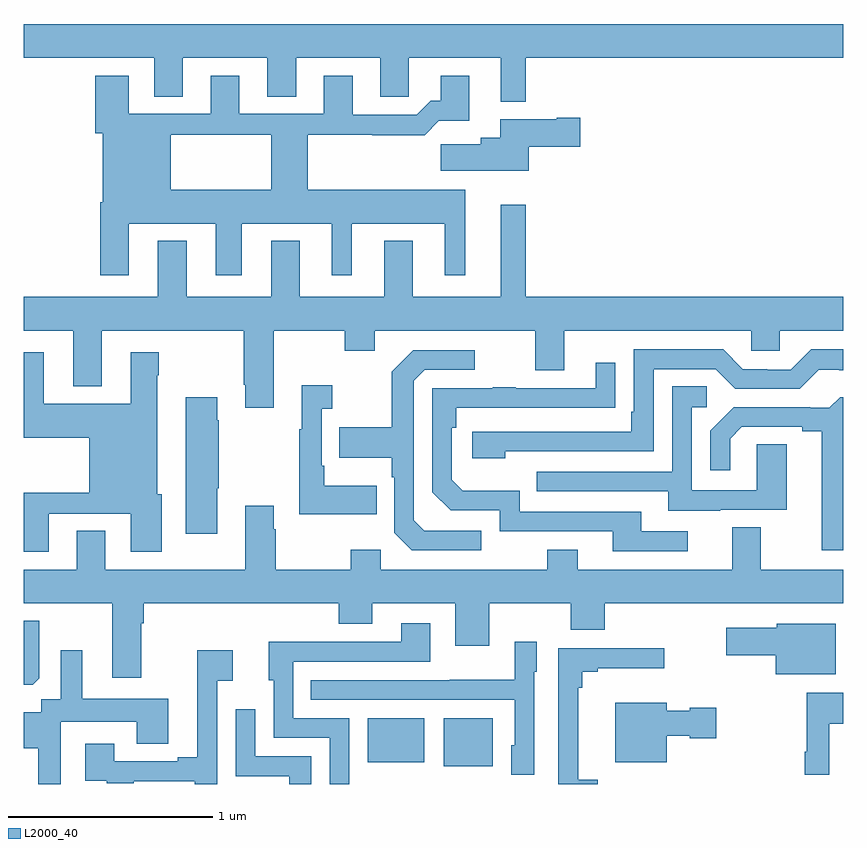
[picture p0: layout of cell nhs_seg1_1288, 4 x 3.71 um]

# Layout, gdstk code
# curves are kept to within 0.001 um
import gdstk
lib = gdstk.Library(unit=1e-6, precision=1e-09)
def R(c, l, rs):  # rectangles x0, y0, x1, y1
    for r in rs: c.add(gdstk.rectangle(r[:2], r[2:], *l))
def P(c, l, *ps):  # polygons
    for p in ps: c.add(gdstk.Polygon(p, *l))
L2000_40 = (2000, 40)

nhs_seg1_1288 = lib.new_cell('nhs_seg1_1288')
R(nhs_seg1_1288, L2000_40, [(183.05,536.285,183.289,536.521), (182.678,536.306,182.956,536.521)])
P(nhs_seg1_1288, L2000_40, [(183.451,539.744),(185,539.744),(185,539.908),(181,539.908),(181,539.744),(181.637,539.744),(181.637,539.554),(181.777,539.554),(181.777,539.744),(182.189,539.744),(182.189,539.554),(182.329,539.554),(182.329,539.744),(182.741,539.744),(182.741,539.554),(182.88,539.554),(182.88,539.744),(183.329,539.744),(183.329,539.528),(183.451,539.528)],
  [(181.373,539.038),(181.373,538.683),(181.513,538.683),(181.513,538.934),(181.937,538.934),(181.937,538.683),(182.065,538.683),(182.065,538.934),(182.504,538.934),(182.504,538.683),(182.602,538.683),(182.602,538.934),(183.056,538.934),(183.056,538.683),(183.154,538.683),(183.154,539.098),(182.387,539.098),(182.387,539.368),(182.701,539.368),(182.701,539.366),(182.957,539.366),(183.026,539.435),(183.175,539.435),(183.175,539.656),(183.035,539.656),(183.035,539.533),(182.986,539.533),(182.919,539.466),(182.605,539.466),(182.605,539.656),(182.465,539.656),(182.465,539.469),(182.053,539.469),(182.053,539.656),(181.913,539.656),(181.913,539.469),(181.513,539.469),(181.513,539.656),(181.349,539.656),(181.349,539.376),(181.385,539.376),(181.385,539.098),(181.717,539.098),(181.717,539.368),(182.209,539.368),(182.209,539.098),(181.385,539.098),(181.385,539.038)],
  [(183.466,539.309),(183.715,539.309),(183.715,539.451),(183.602,539.451),(183.602,539.443),(183.326,539.443),(183.326,539.353),(183.23,539.353),(183.23,539.321),(183.036,539.321),(183.036,539.192),(183.466,539.192)],
  [(181.795,538.849),(181.655,538.849),(181.655,538.576),(181,538.576),(181,538.412),(181.241,538.412),(181.241,538.139),(181.381,538.139),(181.381,538.412),(182.074,538.412),(182.074,538.147),(182.081,538.147),(182.081,538.035),(182.221,538.035),(182.221,538.412),(182.566,538.412),(182.566,538.313),(182.713,538.313),(182.713,538.412),(183.497,538.412),(183.497,538.218),(183.637,538.218),(183.637,538.412),(184.551,538.412),(184.551,538.314),(184.689,538.314),(184.689,538.412),(185,538.412),(185,538.576),(183.451,538.576),(183.451,539.026),(183.329,539.026),(183.329,538.576),(182.899,538.576),(182.899,538.849),(182.759,538.849),(182.759,538.576),(182.347,538.576),(182.347,538.849),(182.207,538.849),(182.207,538.576),(181.795,538.576)],
  [(183.35,537.822),(184.074,537.822),(184.074,538.224),(184.377,538.224),(184.473,538.128),(184.788,538.128),(184.881,538.221),(184.981,538.221),(184.981,538.217),(185,538.217),(185,538.321),(184.843,538.321),(184.743,538.221),(184.628,538.221),(184.628,538.224),(184.509,538.224),(184.413,538.32),(183.978,538.32),(183.978,538.015),(183.965,538.015),(183.965,537.918),(183.189,537.918),(183.189,537.788),(183.35,537.788)],
  [(183.232,537.435),(182.955,537.435),(182.904,537.486),(182.904,538.167),(182.958,538.221),(183.202,538.221),(183.202,538.317),(182.901,538.317),(182.796,538.211),(182.796,537.939),(182.539,537.939),(182.539,537.791),(182.796,537.791),(182.796,537.695),(182.808,537.695),(182.808,537.426),(182.895,537.339),(183.232,537.339)],
  [(181.123,537.519),(181.523,537.519),(181.523,537.333),(181.675,537.333),(181.675,537.612),(181.651,537.612),(181.651,538.193),(181.659,538.193),(181.659,538.306),(181.523,538.306),(181.523,538.054),(181.099,538.054),(181.099,538.306),(181,538.306),(181,537.89),(181.319,537.89),(181.319,537.62),(181,537.62),(181,537.333),(181.123,537.333)],
  [(184.24,537.432),(184.015,537.432),(184.015,537.528),(183.42,537.528),(183.42,537.631),(183.143,537.631),(183.09,537.684),(183.09,537.938),(183.11,537.938),(183.11,538.035),(183.887,538.036),(183.887,538.255),(183.791,538.255),(183.791,538.131),(183.401,538.131),(183.401,538.136),(183.289,538.136),(183.289,538.131),(182.994,538.131),(182.994,537.624),(183.084,537.534),(183.324,537.534),(183.324,537.432),(183.875,537.432),(183.875,537.336),(184.24,537.336)],
  [(182.723,537.655),(182.467,537.655),(182.467,537.751),(182.454,537.751),(182.454,538.031),(182.506,538.031),(182.506,538.144),(182.357,538.144),(182.357,537.931),(182.346,537.931),(182.346,537.515),(182.723,537.515)],
  [(184.399,537.537),(184.723,537.537),(184.723,537.857),(184.578,537.857),(184.578,537.633),(184.26,537.633),(184.26,538.038),(184.333,538.038),(184.333,538.139),(184.164,538.139),(184.164,537.723),(183.505,537.723),(183.505,537.627),(184.145,537.627),(184.145,537.533),(184.399,537.533)],
  [(185,537.435),(185,538.087),(184.984,538.087),(184.932,538.035),(184.838,538.035),(184.838,538.038),(184.466,538.038),(184.35,537.922),(184.35,537.729),(184.447,537.729),(184.447,537.885),(184.504,537.942),(184.799,537.942),(184.799,537.92),(184.895,537.92),(184.895,537.339),(185,537.339)],
  [(181.945,537.643),(181.953,537.643),(181.953,537.974),(181.945,537.974),(181.945,538.087),(181.79,538.087),(181.79,537.42),(181.945,537.42)],
  [(181.573,536.984),(181.586,536.984),(181.586,537.08),(182.537,537.08),(182.537,536.981),(182.701,536.981),(182.701,537.08),(183.107,537.08),(183.107,536.874),(183.271,536.874),(183.271,537.08),(183.671,537.08),(183.671,536.952),(183.835,536.952),(183.835,537.08),(185,537.08),(185,537.244),(184.597,537.244),(184.597,537.452),(184.457,537.452),(184.457,537.244),(183.703,537.244),(183.703,537.343),(183.556,537.343),(183.556,537.244),(182.742,537.244),(182.742,537.343),(182.596,537.343),(182.596,537.244),(182.229,537.244),(182.229,537.443),(182.221,537.443),(182.221,537.556),(182.081,537.556),(182.081,537.244),(181.399,537.244),(181.399,537.434),(181.259,537.434),(181.259,537.244),(181,537.244),(181,537.08),(181.433,537.08),(181.433,536.718),(181.573,536.718)],
  [(181.077,536.715),(181.077,536.995),(181,536.995),(181,536.684),(181.045,536.684)],
  [(182.589,536.52),(182.316,536.52),(182.316,536.796),(182.983,536.796),(182.983,536.983),(182.843,536.983),(182.843,536.892),(182.413,536.892),(182.413,536.894),(182.195,536.894),(182.195,536.706),(182.22,536.706),(182.22,536.424),(182.493,536.424),(182.493,536.199),(182.589,536.199)],
  [(184.963,536.98),(184.674,536.98),(184.674,536.962),(184.428,536.962),(184.428,536.828),(184.67,536.828),(184.67,536.735),(184.963,536.735)],
  [(183.492,536.748),(183.505,536.748),(183.505,536.893),(183.396,536.893),(183.396,536.707),(183.079,536.707),(183.079,536.706),(182.401,536.706),(182.401,536.61),(183.396,536.61),(183.396,536.388),(183.38,536.388),(183.38,536.245),(183.492,536.245)],
  [(183.802,536.219),(183.707,536.219),(183.707,536.669),(183.725,536.669),(183.725,536.746),(183.802,536.746),(183.802,536.765),(184.126,536.765),(184.126,536.862),(183.609,536.862),(183.609,536.199),(183.802,536.199)],
  [(181.944,536.702),(182.02,536.702),(182.02,536.851),(181.847,536.851),(181.847,536.329),(181.751,536.329),(181.751,536.31),(181.441,536.31),(181.441,536.395),(181.301,536.395),(181.301,536.214),(181.405,536.214),(181.405,536.202),(181.537,536.202),(181.537,536.213),(181.836,536.213),(181.836,536.199),(181.944,536.199)],
  [(181.18,536.263),(181.182,536.263),(181.182,536.504),(181.553,536.504),(181.553,536.395),(181.705,536.395),(181.705,536.614),(181.285,536.614),(181.285,536.851),(181.181,536.851),(181.181,536.612),(181.086,536.612),(181.086,536.548),(181,536.548),(181,536.373),(181.071,536.373),(181.071,536.199),(181.18,536.199)],
  [(184.931,536.492),(185,536.492),(185,536.644),(184.821,536.644),(184.821,536.356),(184.813,536.356),(184.813,536.244),(184.931,536.244)],
  [(184.138,536.435),(184.251,536.435),(184.251,536.423),(184.381,536.423),(184.381,536.57),(184.251,536.57),(184.251,536.557),(184.138,536.557),(184.138,536.596),(183.887,536.596),(183.887,536.306),(184.138,536.306)],
  [(182.403,536.334),(182.13,536.334),(182.13,536.563),(182.034,536.563),(182.034,536.237),(182.296,536.237),(182.296,536.199),(182.403,536.199)])

lib.write_gds('nhs_seg1_1288.gds')
